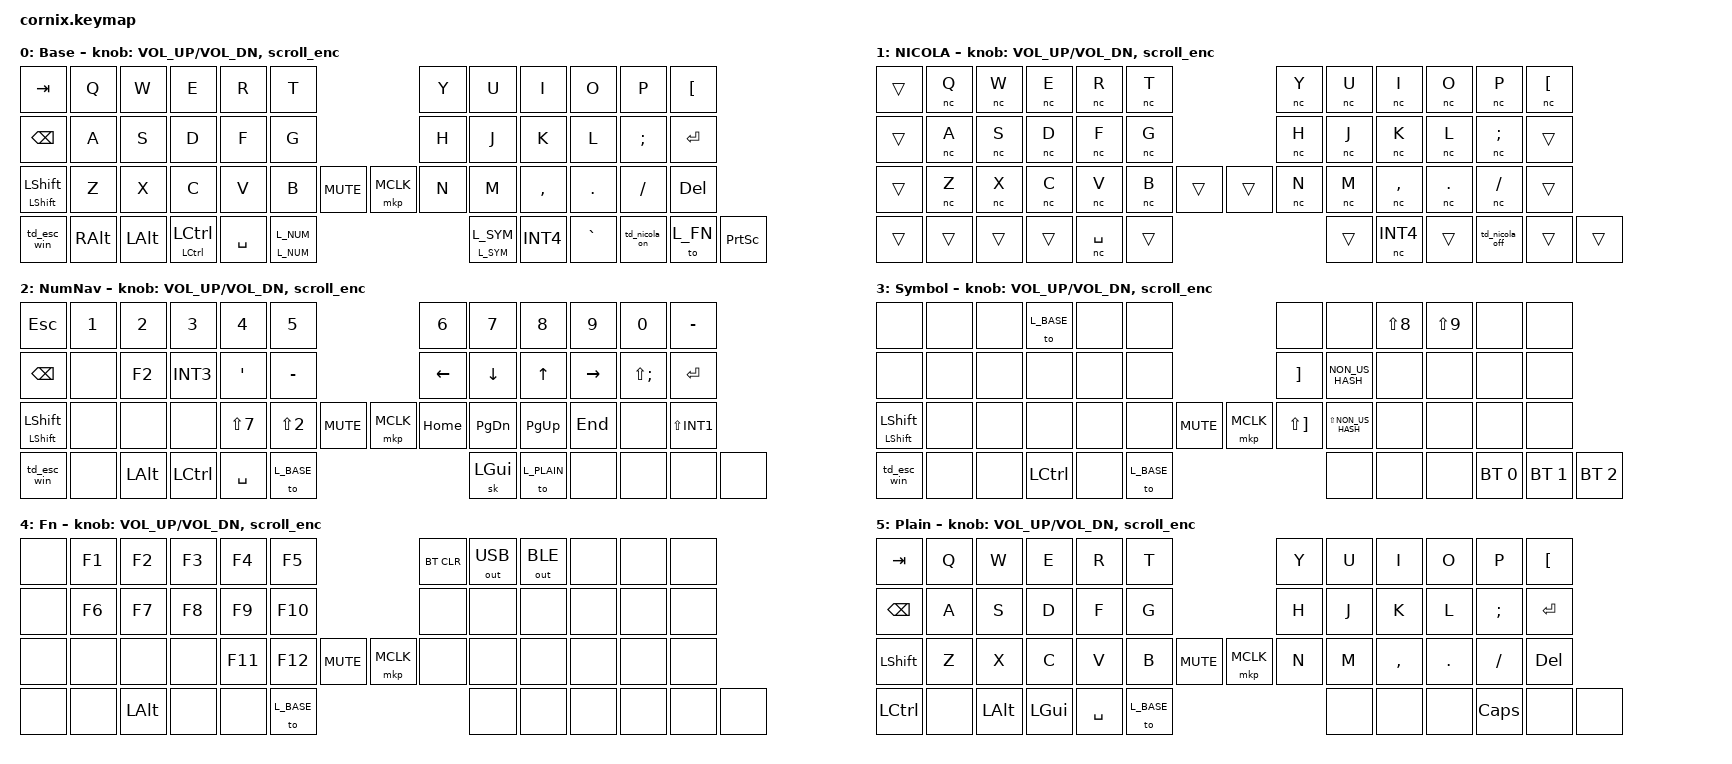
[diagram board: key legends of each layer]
/*
 * Cornix keymap — Vial (keymap-20260706-203100.vil) からの移植
 * マスター: AutoFor/cornix-oyayubi docs/keymap/README.md
 *
 * レイヤー: 0=Base 1=NICOLA 2=Num/Nav 3=Symbol 4=Fn 5=Plain
 *   (NICOLAを低番号に置き、NICOLA中でもL1/L2等のレイヤーキーが上に重なって
 *    Baseと同じように機能する。番号は下の L_* define で管理)
 * Vialタップダンス対応:
 *   TD(0) tap TO(1)/hold MO(1)      -> &tt_num (hold-tap: mo/to)
 *   TD(1) tap OSL(2)/hold MO(2)     -> &msl    (hold-tap: mo/sl) ※double-tap TO(2)は未移植
 *   TD(2) tap ESC/double-tap Win    -> &td_esc_win (tap-dance)
 *   TD(3) tap OSM(Ctrl)/hold Ctrl   -> &oct LCTRL LCTRL (hold-tap: kp/sk)
 *   TD(4) tap OSM(Shift)/hold Shift -> &osf LSHFT LSHFT
 *   TD(6) 復帰                       -> &to 0
 * USER00-02(無線系) -> &bt BT_SEL 0/1/2 に置換、L3右手に BT_CLR / &out を追加
 */

#include <behaviors.dtsi>
#include <behaviors/nicola.dtsi>
#include <dt-bindings/zmk/bt.h>
#include <dt-bindings/zmk/keys.h>
#include <dt-bindings/zmk/outputs.h>
#include <dt-bindings/zmk/pointing.h>

// ============================================================
// 親指シフト(NICOLA)の設定はここだけ変えればOK。変更後 push → flash-cornix.ps1
// ============================================================
// 判定方式は zmk-nicola のブランチで切替 (config/west.yml の zmk-nicola revision):
//   main      = 固定ms窓・先判定 (NICOLA_TIMEOUT_MS が有効)
//   range-pct = やまぶきR風%・後判定 (NICOLA_RANGE_PCT が有効)
// 両方定義してあるのでブランチを切り替えてもこのファイルはそのまま使える
// 2026-07-08 ログ実測: 意図した同時打鍵は全て34ms以内、誤爆(ロールオーバー)は67ms
// → 中間の50msに設定 (以前は100msで広すぎた)
#define NICOLA_TIMEOUT_MS 50   // 同時打鍵判定窓 (ms) — mainブランチ用
#define NICOLA_RANGE_PCT 65    // 同時打鍵判定範囲 (%) — range-pctブランチ用
// 連続シフト: 親指を押しっぱなしで後続の文字にもシフトをかけ続ける (1=オン, 0=オフ)
#define NICOLA_CONTINUOUS 0
// 親指シフトキー (キーマップ内の全該当箇所に自動反映される)
#define NICOLA_LTHUMB SPACE  // 左親指シフト (単独タップはこのキー自身)
#define NICOLA_RTHUMB INT4   // 右親指シフト (INT4=変換)

// レイヤー番号。NICOLAを低番号に置くことで、NICOLA中でもレイヤーキーが
// 上に重なりBaseと同じように機能する(キーマップ内はこのdefineを使うこと)
#define L_BASE   0
#define L_NICOLA 1
#define L_NUM    2
#define L_SYM    3
#define L_FN     4
#define L_PLAIN  5

&nc {
    timeout-ms = <NICOLA_TIMEOUT_MS>;
    range-pct = <NICOLA_RANGE_PCT>;
    continuous-shift = <NICOLA_CONTINUOUS>;
    left-thumb = <NICOLA_LTHUMB>;
    right-thumb = <NICOLA_RTHUMB>;
};

/ {
    behaviors {
        // TD(0): tap=TO(1), hold=MO(1)
        tt_num: tap_to_hold_mo {
            compatible = "zmk,behavior-hold-tap";
            #binding-cells = <2>;
            bindings = <&mo>, <&to>;
            flavor = "hold-preferred";
            tapping-term-ms = <150>;
        };

        // TD(1): tap=OSL(2), hold=MO(2)
        msl: mo_sticky_layer {
            compatible = "zmk,behavior-hold-tap";
            #binding-cells = <2>;
            bindings = <&mo>, <&sl>;
            flavor = "hold-preferred";
            tapping-term-ms = <150>;
        };

        // TD(3): tap=OSM(Ctrl), hold=Ctrl (Vial判定250ms)
        oct: osm_or_hold_ctrl {
            compatible = "zmk,behavior-hold-tap";
            #binding-cells = <2>;
            bindings = <&kp>, <&sk>;
            flavor = "hold-preferred";
            tapping-term-ms = <250>;
        };

        // TD(4): tap=OSM(Shift), hold=Shift (Vial判定200ms)
        osf: osm_or_hold_shift {
            compatible = "zmk,behavior-hold-tap";
            #binding-cells = <2>;
            bindings = <&kp>, <&sk>;
            flavor = "hold-preferred";
            tapping-term-ms = <200>;
        };

        // TD(2): tap=ESC, double-tap=Win
        td_esc_win: td_esc_win {
            compatible = "zmk,behavior-tap-dance";
            #binding-cells = <0>;
            tapping-term-ms = <150>;
            bindings = <&kp ESC>, <&kp LGUI>;
        };

        // NICOLA切替キー(確定方向方式)。Windows側で
        // 「変換キー=IMEオン / 無変換キー=IMEオフ」設定が前提。
        // トグルではなく方向確定なので、ウィンドウ切替等でIMEがズレていても
        // 次の切替で必ず同期が回復する。
        // Base側: tap=IMEオン+NICOLAへ, double-tap=レイヤー移動のみ
        td_nicola_on: td_nicola_on {
            compatible = "zmk,behavior-tap-dance";
            #binding-cells = <0>;
            display-name = "親ON";
            tapping-term-ms = <200>;
            bindings = <&nicola_on>, <&to L_NICOLA>;
        };

        // NICOLA側: tap=IMEオフ+Baseへ, double-tap=レイヤー移動のみ
        td_nicola_off: td_nicola_off {
            compatible = "zmk,behavior-tap-dance";
            #binding-cells = <0>;
            display-name = "親OFF";
            tapping-term-ms = <200>;
            bindings = <&nicola_off>, <&to L_BASE>;
        };

        // エンコーダ2: マウスホイール
        scroll_enc: scroll_encoder {
            compatible = "zmk,behavior-sensor-rotate";
            #sensor-binding-cells = <0>;
            bindings = <&msc SCRL_UP>, <&msc SCRL_DOWN>;
        };
    };

    macros {
        // Vial M5: "te"
        macro_te: macro_te {
            compatible = "zmk,behavior-macro";
            #binding-cells = <0>;
            bindings = <&kp T &kp E>;
        };

        // NICOLA開始: レイヤー切替を先頭・待ち0msにして、直後の打鍵が旧レイヤーで
        // 解釈される隙間(既定のwait/tapだと約45ms)をなくす。IMEキーはその後に送出
        nicola_on: nicola_on {
            compatible = "zmk,behavior-macro";
            #binding-cells = <0>;
            wait-ms = <0>;
            tap-ms = <10>;
            bindings = <&to L_NICOLA>, <&kp INT4>; // NICOLAへ → 変換(=IMEオン確定)
        };

        // NICOLA終了: 同上
        nicola_off: nicola_off {
            compatible = "zmk,behavior-macro";
            #binding-cells = <0>;
            wait-ms = <0>;
            tap-ms = <10>;
            bindings = <&to L_BASE>, <&kp INT5>; // Baseへ → 無変換(=IMEオフ確定)
        };

    };

    combos {
        compatible = "zmk,combos";

        // Vial combo: LAlt + Esc -> M5("te") (NICOLA中もBase同様に有効)
        combo_te {
            bindings = <&macro_te>;
            key-positions = <38 40>;
            layers = <L_BASE L_NICOLA>;
        };
    };

    keymap {
        compatible = "zmk,keymap";

        base_layer {
            display-name = "Base";
            // 左手                                          右手
            // Tab    Q    W    E    R    T              Y    U    I    O    P    @[
            // BSpc   A    S    D    F    G              H    J    K    L    ;    Enter
            // Sft*   Z    X    C    V    B  Mute  MClk  N    M    ,    .    /    Del
            // Esc/Win RAlt LAlt Ctl* Spc  L1*   L2* 変換  全角  親ON(2タップ=移動のみ)  TO_Fn  PrtSc
            bindings = <
&kp TAB          &kp Q     &kp W     &kp E            &kp R           &kp T                              &kp Y      &kp U     &kp I      &kp O      &kp P      &kp LBKT
&kp BSPC         &kp A     &kp S     &kp D            &kp F           &kp G                              &kp H      &kp J     &kp K      &kp L      &kp SEMI   &kp ENTER
&osf LSHFT LSHFT &kp Z     &kp X     &kp C            &kp V           &kp B      &kp C_MUTE  &mkp MCLK   &kp N      &kp M     &kp COMMA  &kp DOT    &kp FSLH   &kp DEL
&td_esc_win      &kp RALT  &kp LALT  &oct LCTRL LCTRL &kp SPACE       &tt_num L_NUM L_NUM                &msl L_SYM L_SYM &kp INT4 &kp GRAVE &td_nicola_on &to L_FN &kp PSCRN
            >;
            sensor-bindings = <&inc_dec_kp C_VOL_UP C_VOL_DN &scroll_enc>;
        };

        nicola_layer {
            display-name = "NICOLA";
            // 親指シフト。文字キーは &nc、親指シフトキーはファイル冒頭の
            // NICOLA_LTHUMB / NICOLA_RTHUMB 定義が自動反映される
            // @キー(P右隣)は NICOLA-J規格どおり単独=、(読点)
            // Tab/BSpace/Enter/Delete/レイヤーキー等は &trans でベースのまま
            // (レイヤー1に配置: NumNav/Symbol/Fnが上に重なるためL1/L2キーもBase同様に効く)
            // 解除は右親指の &td_nicola_off (Baseの親ONと同位置。tap=IMEオフ+Baseへ, 2タップ=移動のみ)
            bindings = <
&trans           &nc Q     &nc W     &nc E       &nc R       &nc T                              &nc Y      &nc U     &nc I      &nc O      &nc P      &nc LBKT
&trans           &nc A     &nc S     &nc D       &nc F       &nc G                              &nc H      &nc J     &nc K      &nc L      &nc SEMI   &trans
&trans           &nc Z     &nc X     &nc C       &nc V       &nc B       &trans      &trans     &nc N      &nc M     &nc COMMA  &nc DOT    &nc SLASH  &trans
&trans           &trans    &trans    &trans      &nc NICOLA_LTHUMB &trans                       &trans     &nc NICOLA_RTHUMB &trans &td_nicola_off &trans &trans
            >;
            sensor-bindings = <&inc_dec_kp C_VOL_UP C_VOL_DN &scroll_enc>;
        };

        num_nav_layer {
            display-name = "NumNav";
            // Esc    1    2    3    4    5              6    7    8    9    0    -
            // BSpc   --   F2   ¥    :*   -              ←    ↓    ↑    →    +    Enter
            // Sft*   --   --   --   '&   "@             Home PgDn PgUp End  --   _
            // Esc/Win --  LAlt LCtrl Spc  TO0        OSM(Win) TO4  --   --   --   --
            bindings = <
&kp ESC          &kp N1    &kp N2    &kp N3      &kp N4      &kp N5                             &kp N6     &kp N7     &kp N8     &kp N9     &kp N0        &kp MINUS
&kp BSPC         &none     &kp F2    &kp INT3    &kp SQT     &kp MINUS                          &kp LEFT   &kp DOWN   &kp UP     &kp RIGHT  &kp LS(SEMI)  &kp ENTER
&osf LSHFT LSHFT &none     &none     &none       &kp LS(N7)  &kp LS(N2)  &kp C_MUTE  &mkp MCLK  &kp HOME   &kp PG_DN  &kp PG_UP  &kp END    &none         &kp LS(INT1)
&td_esc_win      &none     &kp LALT  &kp LCTRL   &kp SPACE   &to L_BASE                         &sk LGUI   &to L_PLAIN &none     &none      &none         &none
            >;
            sensor-bindings = <&inc_dec_kp C_VOL_UP C_VOL_DN &scroll_enc>;
        };

        symbol_layer {
            display-name = "Symbol";
            // --     --   --   TO0  --   --             --   --   (    )    --   --
            // --     --   --   --   --   --             ]    #    --   --   --   --
            // Sft*   --   --   --   --   --             }    ~    --   --   --   --
            // Esc/Win --   --  LCtrl --  TO0            --   --   --  BT0  BT1  BT2
            bindings = <
&none            &none     &none     &to L_BASE  &none       &none                              &none            &none                &kp LS(N8)  &kp LS(N9)    &none         &none
&none            &none     &none     &none       &none       &none                              &kp RBKT         &kp NON_US_HASH      &none       &none         &none         &none
&osf LSHFT LSHFT &none     &none     &none       &none       &none       &kp C_MUTE  &mkp MCLK  &kp LS(RBKT)     &kp LS(NON_US_HASH)  &none       &none         &none         &none
&td_esc_win      &none     &none     &kp LCTRL   &none       &to L_BASE                         &none            &none                &none       &bt BT_SEL 0  &bt BT_SEL 1  &bt BT_SEL 2
            >;
            sensor-bindings = <&inc_dec_kp C_VOL_UP C_VOL_DN &scroll_enc>;
        };

        fn_layer {
            display-name = "Fn";
            // --     F1   F2   F3   F4   F5             BTCLR USB  BLE  --   --   --
            // --     F6   F7   F8   F9   F10            --   --   --   --   --   --
            // --     --   --   --   F11  F12            --   --   --   --   --   --
            // --     --  LAlt  --   --   TO0            --   --   --   --   --   --
            bindings = <
&none            &kp F1    &kp F2    &kp F3      &kp F4      &kp F5                             &bt BT_CLR  &out OUT_USB  &out OUT_BLE  &none      &none      &none
&none            &kp F6    &kp F7    &kp F8      &kp F9      &kp F10                            &none       &none         &none         &none      &none      &none
&none            &none     &none     &none       &kp F11     &kp F12     &kp C_MUTE  &mkp MCLK  &none       &none         &none         &none      &none      &none
&none            &none     &kp LALT  &none       &none       &to L_BASE                         &none       &none         &none         &none      &none      &none
            >;
            sensor-bindings = <&inc_dec_kp C_VOL_UP C_VOL_DN &scroll_enc>;
        };

        plain_layer {
            display-name = "Plain";
            // 素のQWERTY(ゲーム等用)。修飾キーは通常位置
            bindings = <
&kp TAB          &kp Q     &kp W     &kp E       &kp R       &kp T                              &kp Y      &kp U     &kp I      &kp O        &kp P      &kp LBKT
&kp BSPC         &kp A     &kp S     &kp D       &kp F       &kp G                              &kp H      &kp J     &kp K      &kp L        &kp SEMI   &kp ENTER
&kp LSHFT        &kp Z     &kp X     &kp C       &kp V       &kp B       &kp C_MUTE  &mkp MCLK  &kp N      &kp M     &kp COMMA  &kp DOT      &kp FSLH   &kp DEL
&kp LCTRL        &none     &kp LALT  &kp LGUI    &kp SPACE   &to L_BASE                         &none      &none     &none      &kp CAPS     &none      &none
            >;
            sensor-bindings = <&inc_dec_kp C_VOL_UP C_VOL_DN &scroll_enc>;
        };
    };
};
